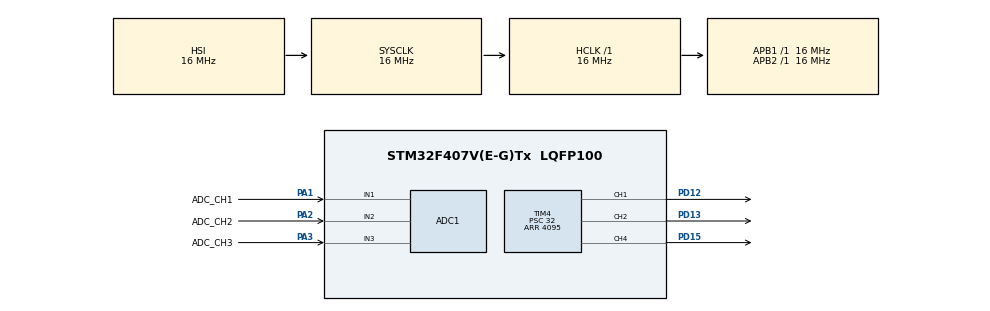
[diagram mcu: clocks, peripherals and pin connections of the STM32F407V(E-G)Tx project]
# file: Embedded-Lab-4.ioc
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ADC1.Channel-0\#ChannelRegularConversion=ADC_CHANNEL_1
ADC1.Channel-1\#ChannelRegularConversion=ADC_CHANNEL_2
ADC1.Channel-2\#ChannelRegularConversion=ADC_CHANNEL_3
ADC1.ClockPrescaler=ADC_CLOCK_SYNC_PCLK_DIV8
ADC1.ContinuousConvMode=DISABLE
ADC1.DMAContinuousRequests=DISABLE
ADC1.DiscontinuousConvMode=DISABLE
ADC1.EOCSelection=ADC_EOC_SINGLE_CONV
ADC1.ExternalTrigConv=ADC_SOFTWARE_START
ADC1.NbrOfConversion=3
ADC1.NbrOfConversionFlag=1
ADC1.Rank-0\#ChannelRegularConversion=1
ADC1.Rank-1\#ChannelRegularConversion=2
ADC1.Rank-2\#ChannelRegularConversion=3
ADC1.SamplingTime-0\#ChannelRegularConversion=ADC_SAMPLETIME_480CYCLES
ADC1.SamplingTime-1\#ChannelRegularConversion=ADC_SAMPLETIME_480CYCLES
ADC1.SamplingTime-2\#ChannelRegularConversion=ADC_SAMPLETIME_480CYCLES
ADC1.ScanConvMode=ENABLE
ADC1.master=1
Mcu.Family=STM32F4
Mcu.Name=STM32F407V(E-G)Tx
Mcu.Package=LQFP100
NVIC.ADC_IRQn=true\:0\:0\:false\:false\:true\:true\:true\:true
NVIC.PriorityGroup=NVIC_PRIORITYGROUP_4
PA1.GPIO_Label=ADC_CH1
PA1.Signal=ADCx_IN1
PA2.GPIO_Label=ADC_CH2
PA2.Signal=ADCx_IN2
PA3.GPIO_Label=ADC_CH3
PA3.Signal=ADCx_IN3
PD12.Signal=S_TIM4_CH1
PD13.Signal=S_TIM4_CH2
PD15.Signal=S_TIM4_CH4
ProjectManager.HeapSize=0x200
ProjectManager.StackSize=0x400
ProjectManager.TargetToolchain=STM32CubeIDE
RCC.AHBFreq_Value=16000000
RCC.APB1Freq_Value=16000000
RCC.APB2Freq_Value=16000000
RCC.CortexFreq_Value=16000000
RCC.HSE_VALUE=25000000
RCC.HSI_VALUE=16000000
RCC.LSE_VALUE=32768
RCC.SYSCLKFreq_VALUE=16000000
RCC.VCOOutputFreq_Value=192000000
SH.ADCx_IN1.0=ADC1_IN1,IN1
SH.ADCx_IN2.0=ADC1_IN2,IN2
SH.ADCx_IN3.0=ADC1_IN3,IN3
SH.S_TIM4_CH1.0=TIM4_CH1,PWM Generation1 CH1
SH.S_TIM4_CH2.0=TIM4_CH2,PWM Generation2 CH2
SH.S_TIM4_CH4.0=TIM4_CH4,PWM Generation4 CH4
TIM4.Channel-PWM\ Generation1\ CH1=TIM_CHANNEL_1
TIM4.Channel-PWM\ Generation2\ CH2=TIM_CHANNEL_2
TIM4.Channel-PWM\ Generation4\ CH4=TIM_CHANNEL_4
TIM4.CounterMode=TIM_COUNTERMODE_DOWN
TIM4.Period=4095
TIM4.Prescaler=32
VP_TIM4_VS_ClockSourceINT.Mode=Internal
board=custom

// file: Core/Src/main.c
/* USER CODE BEGIN Header */
/**
  ******************************************************************************
  * @file           : main.c
  * @brief          : Main program body
  ******************************************************************************
  * @attention
  *
  * Copyright (c) 2025 STMicroelectronics.
  * All rights reserved.
  *
  * This software is licensed under terms that can be found in the LICENSE file
  * in the root directory of this software component.
  * If no LICENSE file comes with this software, it is provided AS-IS.
  *
  ******************************************************************************
  */
/* USER CODE END Header */
#include "main.h"

/* USER CODE BEGIN PD */
#define ADC_CHANNELS 3
#define DEAD_ZONE 40
/* USER CODE END PD */

ADC_HandleTypeDef hadc1;

TIM_HandleTypeDef htim4;

/* USER CODE BEGIN PV */

volatile uint16_t adcValues[ADC_CHANNELS][2] = {{0, }, {0, }};
volatile uint8_t flag = 0;
/* USER CODE END PV */

void SystemClock_Config(void);
static void MX_GPIO_Init(void);
static void MX_ADC1_Init(void);
static void MX_TIM4_Init(void);

int main(void)
{

  /* MCU Configuration--------------------------------------------------------*/

  /* Reset of all peripherals, Initializes the Flash interface and the Systick. */
  HAL_Init();

  /* Configure the system clock */
  SystemClock_Config();

  /* Initialize all configured peripherals */
  MX_GPIO_Init();
  MX_ADC1_Init();
  MX_TIM4_Init();
  /* USER CODE BEGIN 2 */
  void ADC_Select_Channel(uint32_t ch) {
      ADC_ChannelConfTypeDef conf = {
          .Channel = ch,
          .Rank = 1,
          .SamplingTime = 56,
      };
      if (HAL_ADC_ConfigChannel(&hadc1, &conf) != HAL_OK) {
          Error_Handler();
      }
  }
   HAL_TIM_PWM_Start(&htim4, TIM_CHANNEL_4);
   HAL_TIM_PWM_Start(&htim4, TIM_CHANNEL_2);
   HAL_TIM_PWM_Start(&htim4, TIM_CHANNEL_1);

  /* USER CODE END 2 */

  /* Infinite loop */
  /* USER CODE BEGIN WHILE */
  while (1)
  {
	  const float EMA_coefficient = 0.2;
	  uint32_t channels[] = {
			  ADC_CHANNEL_1,
			  ADC_CHANNEL_3,
			  ADC_CHANNEL_2,
	    };
	  for(int i = 0; i < 3; i++) {
	          ADC_Select_Channel(channels[i]);
	          HAL_ADC_Start(&hadc1);
	          HAL_ADC_PollForConversion(&hadc1, HAL_MAX_DELAY);
	          adcValues[i][0] = HAL_ADC_GetValue(&hadc1);
	          HAL_ADC_Stop(&hadc1);
	          adcValues[i][1] += (float)((adcValues[i][0]-adcValues[i][1]) * EMA_coefficient);
	          if (adcValues[i][1] <= DEAD_ZONE) adcValues[i][1] = 0;
	      }

      TIM4->CCR4 = adcValues[2][1];
      TIM4->CCR2 = adcValues[0][1];
      TIM4->CCR1 = adcValues[1][1];
    /* USER CODE END WHILE */

  }
}

void SystemClock_Config(void)
{
  RCC_OscInitTypeDef RCC_OscInitStruct = {0};
  RCC_ClkInitTypeDef RCC_ClkInitStruct = {0};

  /** Configure the main internal regulator output voltage
  */
  __HAL_RCC_PWR_CLK_ENABLE();
  __HAL_PWR_VOLTAGESCALING_CONFIG(PWR_REGULATOR_VOLTAGE_SCALE1);

  /** Initializes the RCC Oscillators according to the specified parameters
  * in the RCC_OscInitTypeDef structure.
  */
  RCC_OscInitStruct.OscillatorType = RCC_OSCILLATORTYPE_HSI;
  RCC_OscInitStruct.HSIState = RCC_HSI_ON;
  RCC_OscInitStruct.HSICalibrationValue = RCC_HSICALIBRATION_DEFAULT;
  RCC_OscInitStruct.PLL.PLLState = RCC_PLL_NONE;
  if (HAL_RCC_OscConfig(&RCC_OscInitStruct) != HAL_OK)
  {
    Error_Handler();
  }

  /** Initializes the CPU, AHB and APB buses clocks
  */
  RCC_ClkInitStruct.ClockType = RCC_CLOCKTYPE_HCLK|RCC_CLOCKTYPE_SYSCLK
                              |RCC_CLOCKTYPE_PCLK1|RCC_CLOCKTYPE_PCLK2;
  RCC_ClkInitStruct.SYSCLKSource = RCC_SYSCLKSOURCE_HSI;
  RCC_ClkInitStruct.AHBCLKDivider = RCC_SYSCLK_DIV1;
  RCC_ClkInitStruct.APB1CLKDivider = RCC_HCLK_DIV1;
  RCC_ClkInitStruct.APB2CLKDivider = RCC_HCLK_DIV1;

  if (HAL_RCC_ClockConfig(&RCC_ClkInitStruct, FLASH_LATENCY_0) != HAL_OK)
  {
    Error_Handler();
  }
}

static void MX_ADC1_Init(void)
{

  ADC_ChannelConfTypeDef sConfig = {0};

  /** Configure the global features of the ADC (Clock, Resolution, Data Alignment and number of conversion)
  */
  hadc1.Instance = ADC1;
  hadc1.Init.ClockPrescaler = ADC_CLOCK_SYNC_PCLK_DIV8;
  hadc1.Init.Resolution = ADC_RESOLUTION_12B;
  hadc1.Init.ScanConvMode = ENABLE;
  hadc1.Init.ContinuousConvMode = DISABLE;
  hadc1.Init.DiscontinuousConvMode = DISABLE;
  hadc1.Init.ExternalTrigConvEdge = ADC_EXTERNALTRIGCONVEDGE_NONE;
  hadc1.Init.ExternalTrigConv = ADC_SOFTWARE_START;
  hadc1.Init.DataAlign = ADC_DATAALIGN_RIGHT;
  hadc1.Init.NbrOfConversion = 3;
  hadc1.Init.DMAContinuousRequests = DISABLE;
  hadc1.Init.EOCSelection = ADC_EOC_SINGLE_CONV;
  if (HAL_ADC_Init(&hadc1) != HAL_OK)
  {
    Error_Handler();
  }

  /** Configure for the selected ADC regular channel its corresponding rank in the sequencer and its sample time.
  */
  sConfig.Channel = ADC_CHANNEL_1;
  sConfig.Rank = 1;
  sConfig.SamplingTime = ADC_SAMPLETIME_480CYCLES;
  if (HAL_ADC_ConfigChannel(&hadc1, &sConfig) != HAL_OK)
  {
    Error_Handler();
  }

  /** Configure for the selected ADC regular channel its corresponding rank in the sequencer and its sample time.
  */
  sConfig.Channel = ADC_CHANNEL_2;
  sConfig.Rank = 2;
  if (HAL_ADC_ConfigChannel(&hadc1, &sConfig) != HAL_OK)
  {
    Error_Handler();
  }

  /** Configure for the selected ADC regular channel its corresponding rank in the sequencer and its sample time.
  */
  sConfig.Channel = ADC_CHANNEL_3;
  sConfig.Rank = 3;
  if (HAL_ADC_ConfigChannel(&hadc1, &sConfig) != HAL_OK)
  {
    Error_Handler();
  }

}

static void MX_TIM4_Init(void)
{

  TIM_ClockConfigTypeDef sClockSourceConfig = {0};
  TIM_MasterConfigTypeDef sMasterConfig = {0};
  TIM_OC_InitTypeDef sConfigOC = {0};

  htim4.Instance = TIM4;
  htim4.Init.Prescaler = 32;
  htim4.Init.CounterMode = TIM_COUNTERMODE_DOWN;
  htim4.Init.Period = 4095;
  htim4.Init.ClockDivision = TIM_CLOCKDIVISION_DIV1;
  htim4.Init.AutoReloadPreload = TIM_AUTORELOAD_PRELOAD_DISABLE;
  if (HAL_TIM_Base_Init(&htim4) != HAL_OK)
  {
    Error_Handler();
  }
  sClockSourceConfig.ClockSource = TIM_CLOCKSOURCE_INTERNAL;
  if (HAL_TIM_ConfigClockSource(&htim4, &sClockSourceConfig) != HAL_OK)
  {
    Error_Handler();
  }
  if (HAL_TIM_PWM_Init(&htim4) != HAL_OK)
  {
    Error_Handler();
  }
  sMasterConfig.MasterOutputTrigger = TIM_TRGO_RESET;
  sMasterConfig.MasterSlaveMode = TIM_MASTERSLAVEMODE_DISABLE;
  if (HAL_TIMEx_MasterConfigSynchronization(&htim4, &sMasterConfig) != HAL_OK)
  {
    Error_Handler();
  }
  sConfigOC.OCMode = TIM_OCMODE_PWM1;
  sConfigOC.Pulse = 0;
  sConfigOC.OCPolarity = TIM_OCPOLARITY_HIGH;
  sConfigOC.OCFastMode = TIM_OCFAST_DISABLE;
  if (HAL_TIM_PWM_ConfigChannel(&htim4, &sConfigOC, TIM_CHANNEL_1) != HAL_OK)
  {
    Error_Handler();
  }
  if (HAL_TIM_PWM_ConfigChannel(&htim4, &sConfigOC, TIM_CHANNEL_2) != HAL_OK)
  {
    Error_Handler();
  }
  if (HAL_TIM_PWM_ConfigChannel(&htim4, &sConfigOC, TIM_CHANNEL_4) != HAL_OK)
  {
    Error_Handler();
  }
  HAL_TIM_MspPostInit(&htim4);

}

static void MX_GPIO_Init(void)
{

  /* GPIO Ports Clock Enable */
  __HAL_RCC_GPIOA_CLK_ENABLE();
  __HAL_RCC_GPIOD_CLK_ENABLE();

}

/* USER CODE BEGIN 4 */
void HAL_ADC_ConvCpltCallback(ADC_HandleTypeDef *hadc1)
{
	if(hadc1->Instance == ADC1)
	    {
	        flag = 1;
	    }
  // Process the data
}
/* USER CODE END 4 */

void Error_Handler(void)
{
  __disable_irq();
  while (1)
  {
  }
}
